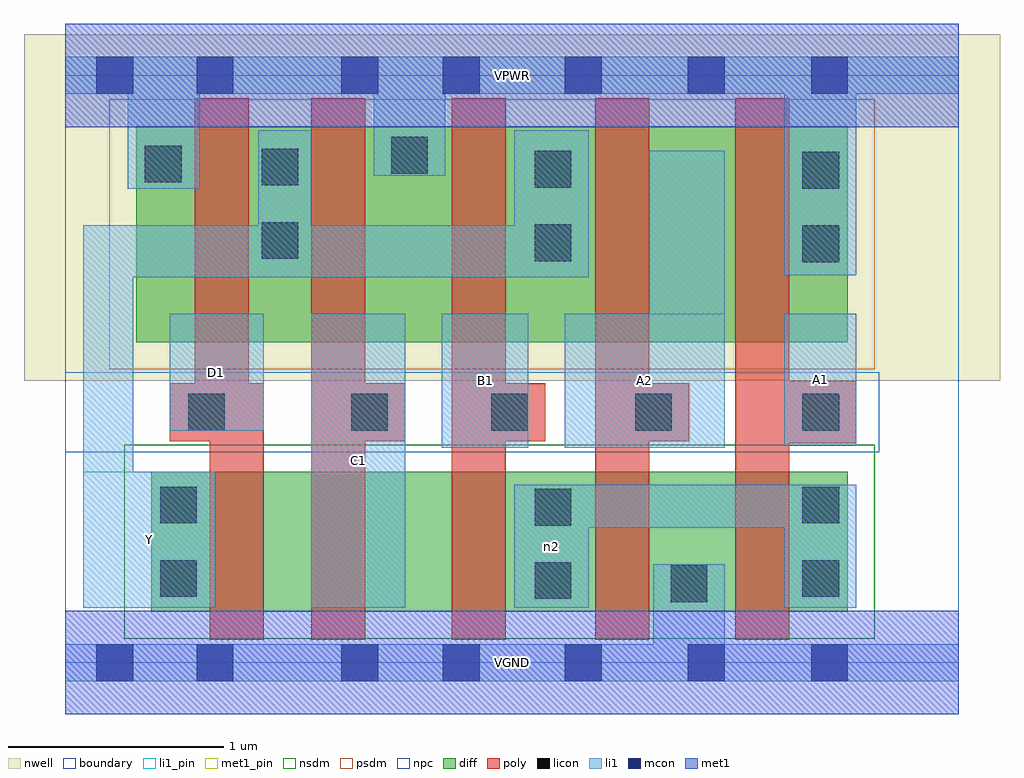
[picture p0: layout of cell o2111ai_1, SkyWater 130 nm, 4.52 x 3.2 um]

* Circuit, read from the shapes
.subckt o2111ai_1 A1 A2 B1 C1 D1 VGND VPWR Y n2
XM1 n1 D1 Y VSUBS sky130_fd_pr__nfet_01v8 w=0.65 l=0.25
XM2 n3 C1 n1 VSUBS sky130_fd_pr__nfet_01v8 w=0.65 l=0.25
XM3 n2 B1 n3 VSUBS sky130_fd_pr__nfet_01v8 w=0.65 l=0.25
XM4 VGND A2 n2 VSUBS sky130_fd_pr__nfet_01v8 w=0.65 l=0.25
XM5 n2 A1 VGND VSUBS sky130_fd_pr__nfet_01v8 w=0.65 l=0.25
XM6 Y D1 VPWR n4 sky130_fd_pr__pfet_01v8 w=1 l=0.25
XM7 VPWR C1 Y n4 sky130_fd_pr__pfet_01v8 w=1 l=0.25
XM8 Y B1 VPWR n4 sky130_fd_pr__pfet_01v8 w=1 l=0.25
XM9 n5 A2 Y n4 sky130_fd_pr__pfet_01v8 w=1 l=0.25
XM10 VPWR A1 n5 n4 sky130_fd_pr__pfet_01v8 w=1 l=0.25
.ends

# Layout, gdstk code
import gdstk
lib = gdstk.Library(unit=1e-6, precision=1e-09)
def R(c, l, rs):  # rectangles x0, y0, x1, y1
    for r in rs: c.add(gdstk.rectangle(r[:2], r[2:], *l))
def A(c, l, x, y, w, h, nx, ny, dx, dy):  # array of equal rectangles
    R(c, l, [(x+i*dx, y+j*dy, x+i*dx+w, y+j*dy+h) for i in range(nx) for j in range(ny)])
nwell = (64, 20)
diff = (65, 20)
poly = (66, 20)
licon = (66, 44)
li1_pin = (67, 16)
li1 = (67, 20)
mcon = (67, 44)
met1_pin = (68, 16)
met1 = (68, 20)
nsdm = (93, 44)
psdm = (94, 20)
npc = (95, 20)
boundary = (235, 4)

o2111ai_1 = lib.new_cell('o2111ai_1')
R(o2111ai_1, nwell, [(-0.19,1.305,4.33,2.91), (0,1.305,4.14,2.91)])
R(o2111ai_1, diff, [(0.4,0.235,3.625,0.885), (0.33,1.485,3.625,2.485)])
R(o2111ai_1, poly, [(0.67,0.105,0.85,2.615), (0.67,0.105,0.92,1.295), (1.14,0.105,1.39,2.615), (1.79,0.105,2.04,2.615), (2.455,0.105,2.705,2.615), (3.105,0.105,3.355,2.615), (3.105,1.015,3.665,1.305), (0.485,1.025,0.92,1.295), (0.6,1.025,0.67,2.615), (1.14,1.025,1.575,1.295), (1.79,1.025,2.225,1.295), (2.455,1.025,2.89,1.295)])
R(o2111ai_1, licon, [(2.805,0.28,2.975,0.45), (2.175,0.295,2.345,0.465), (0.44,0.305,0.61,0.475), (3.415,0.305,3.585,0.475), (2.175,0.635,2.345,0.805), (0.44,0.645,0.61,0.815), (3.415,0.645,3.585,0.815), (0.57,1.075,0.74,1.245), (1.325,1.075,1.495,1.245), (1.975,1.075,2.145,1.245), (2.64,1.075,2.81,1.245), (3.415,1.075,3.585,1.245), (3.415,1.855,3.585,2.025), (2.175,1.86,2.345,2.03), (0.91,1.87,1.08,2.04), (3.415,2.195,3.585,2.365), (2.175,2.2,2.345,2.37), (0.91,2.21,1.08,2.38), (0.37,2.225,0.54,2.395), (1.51,2.265,1.68,2.435)])
R(o2111ai_1, li1_pin, [(0.085,0.255,0.695,0.885), (1.14,0.255,1.575,1.615), (1.745,0.995,2.145,1.615), (2.315,0.995,3.055,1.615), (3.33,1.005,3.665,1.615), (0.485,1.075,0.92,1.615)])
R(o2111ai_1, li1, [(0,-0.085,4.14,0.085), (2.725,-0.085,3.055,0.455), (0.085,0.255,0.695,0.885), (0.085,0.255,0.315,2.025), (1.14,0.255,1.575,1.615), (2.08,0.255,2.425,0.825), (3.33,0.255,3.665,0.825), (2.08,0.625,3.665,0.825), (1.745,0.995,2.145,1.615), (2.315,0.995,3.055,1.615), (2.705,0.995,3.055,2.37), (3.33,1.005,3.665,1.615), (0.485,1.075,0.92,1.615), (0.085,1.785,2.425,2.025), (0.895,1.785,1.14,2.465), (2.08,1.785,2.425,2.465), (3.33,1.795,3.665,2.805), (0.29,2.195,0.625,2.805), (1.43,2.255,1.76,2.805), (0,2.635,4.14,2.805)])
A(o2111ai_1, mcon, 2.315, -0.085, 0.17, 0.17, 3, 2, 0.57, 2.72)
R(o2111ai_1, mcon, [(0.145,-0.085,0.315,0.085), (0.61,-0.085,0.78,0.085), (1.28,-0.085,1.45,0.085), (1.75,-0.085,1.92,0.085), (0.145,2.635,0.315,2.805), (0.61,2.635,0.78,2.805), (1.28,2.635,1.45,2.805), (1.75,2.635,1.92,2.805)])
R(o2111ai_1, met1_pin, [(0,-0.24,4.14,0.24), (0,2.48,4.14,2.96)])
R(o2111ai_1, met1, [(0,-0.24,4.14,0.24), (0,2.48,4.14,2.96)])
R(o2111ai_1, nsdm, [(0.275,0.11,3.75,1.01)])
R(o2111ai_1, psdm, [(0.205,1.36,3.75,2.61)])
R(o2111ai_1, npc, [(0,0.975,3.77,1.345)])
R(o2111ai_1, boundary, [(0,0,4.14,2.72)])
o2111ai_1.add(gdstk.Label('A1', (3.497,1.31), layer=67, texttype=5))
o2111ai_1.add(gdstk.Label('A2', (2.685,1.305), layer=67, texttype=5))
o2111ai_1.add(gdstk.Label('B1', (1.945,1.305), layer=67, texttype=5))
o2111ai_1.add(gdstk.Label('C1', (1.357,0.935), layer=67, texttype=5))
o2111ai_1.add(gdstk.Label('D1', (0.702,1.345), layer=67, texttype=5))
o2111ai_1.add(gdstk.Label('Y', (0.39,0.57), layer=67, texttype=5))
o2111ai_1.add(gdstk.Label('n2', (2.252,0.54), layer=67, texttype=5))
o2111ai_1.add(gdstk.Label('VPWR', (2.07,2.72), layer=68, texttype=5))
o2111ai_1.add(gdstk.Label('VGND', (2.07,0), layer=68, texttype=5))
o2111ai_1.add(gdstk.Label('A1', (3.497,1.31), layer=67, texttype=16))
o2111ai_1.add(gdstk.Label('A2', (2.685,1.305), layer=67, texttype=16))
o2111ai_1.add(gdstk.Label('B1', (1.945,1.305), layer=67, texttype=16))
o2111ai_1.add(gdstk.Label('C1', (1.357,0.935), layer=67, texttype=16))
o2111ai_1.add(gdstk.Label('D1', (0.702,1.345), layer=67, texttype=16))
o2111ai_1.add(gdstk.Label('Y', (0.39,0.57), layer=67, texttype=16))
o2111ai_1.add(gdstk.Label('VPWR', (2.07,2.72), layer=68, texttype=16))
o2111ai_1.add(gdstk.Label('VGND', (2.07,0), layer=68, texttype=16))

lib.write_gds('o2111ai_1.gds')
